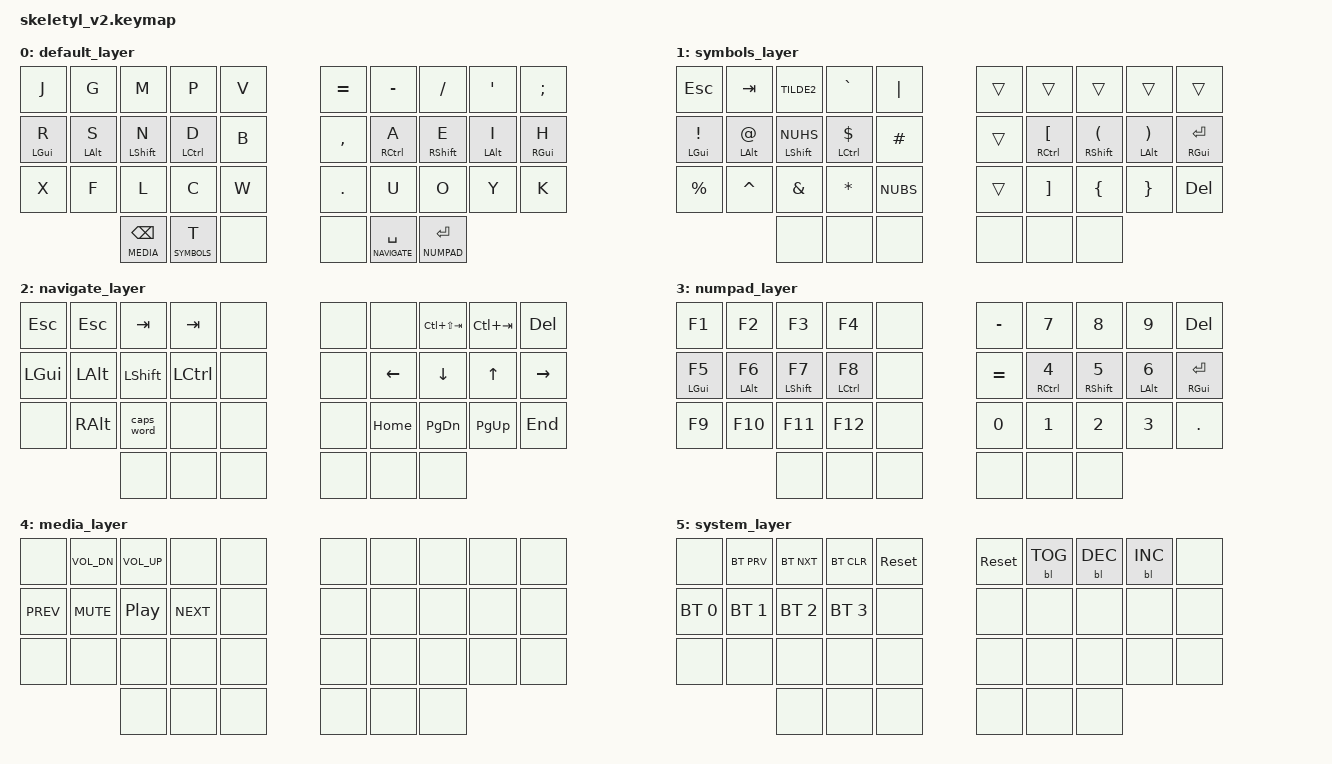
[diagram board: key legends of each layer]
/*
 * Copyright (c) 2020 The ZMK Contributors
 *
 * SPDX-License-Identifier: MIT
 */

#include <behaviors.dtsi>
#include <dt-bindings/zmk/backlight.h>
#include <dt-bindings/zmk/bt.h>
#include <dt-bindings/zmk/keys.h>

#define DEFAULT 0
#define SYMBOLS 1
#define NAVIGATE 2
#define NUMPAD 3
#define MEDIA 4
#define SYSTEM 5

/ {
    behaviors {
        bhm: balanced_homerow_mods {
            compatible = "zmk,behavior-hold-tap";
            label = "HOMEROW_MODS";
            #binding-cells = <2>;
            tapping-term-ms = <200>;// <---[[regular duration]]
            quick-tap-ms = <0>;// disabled
            flavor = "balanced";
            bindings = <&kp>, <&kp>;
        };

        bspc_del: backspace_delete {
            compatible = "zmk,behavior-mod-morph";
            label = "BACKSPACE_DELETE";
            #binding-cells = <0>;
            bindings = <&kp BACKSPACE>, <&kp DELETE>;

            mods = <(MOD_LSFT|MOD_RSFT)>;
            keep-mods = <(MOD_LCTL|MOD_RCTL)>;
        };

        copy_cut: copy_cut {
            compatible = "zmk,behavior-mod-morph";
            label = "COPY_CUT";
            #binding-cells = <0>;
            bindings = <&kp LC(C)>, <&kp LC(X)>;

            mods = <(MOD_LCTL|MOD_RCTL)>;
        };

        copy_cut_paste: copy_cut_paste {
            compatible = "zmk,behavior-mod-morph";
            label = "COPY_CUT_PASTE";
            #binding-cells = <0>;
            bindings = <&kp LC(V)>, <&copy_cut>;

            mods = <(MOD_LSFT|MOD_RSFT)>;
        };

        // copy_paste: copy_paste {
        //     compatible = "zmk,behavior-mod-morph";
        //     label = "COPY_PASTE";
        //     #binding-cells = <0>;
        //     bindings = <&kp LC(C)>, <&kp LC(V)>;
        //     mods = <(MOD_LSFT|MOD_RSFT)>;
        // };
    };

    combos {
        compatible = "zmk,combos";

        combo_z {
            timeout-ms = <100>;
            key-positions = <20 21>;
            layers = <0>;
            bindings = <&kp Z>;
        };

        combo_q {
            timeout-ms = <100>;
            key-positions = <28 29>;
            layers = <0>;
            bindings = <&kp Q>;
        };

        combo_esc {
            timeout-ms = <50>;
            key-positions = <1 2>;
            layers = <DEFAULT>;
            bindings = <&kp ESC>;
        };

        combo_tab {
            timeout-ms = <50>;
            key-positions = <2 3>;
            layers = <DEFAULT>;
            bindings = <&kp TAB>;
        };

        combo_system_layer_left {
            timeout-ms = <50>;
            key-positions = <30 31>;
            bindings = <&mo SYSTEM>;
        };

        combo_system_layer_right {
            timeout-ms = <50>;
            key-positions = <34 35>;
            bindings = <&mo SYSTEM>;
        };

        combo_caps_word {
            bindings = <&caps_word>;
            key-positions = <7 8>;
            timeout-ms = <100>;
            layers = <0>;
        };

        combo_lgui {
            bindings = <&kp LEFT_GUI>;
            key-positions = <10 19>;
        };
    };

    keymap {
        compatible = "zmk,keymap";

        default_layer {
            bindings = <
&kp J        &kp G        &kp M                &kp P          &kp V    &kp EQUAL  &kp MINUS           &kp SLASH          &kp SQT      &kp SEMI
&bhm LGUI R  &bhm LALT S  &bhm LSHFT N         &bhm LCTRL D   &kp B    &kp COMMA  &bhm RCTRL A        &bhm RSHFT E       &bhm LALT I  &bhm RGUI H
&kp X        &kp F        &kp L                &kp C          &kp W    &kp DOT    &kp U               &kp O              &kp Y        &kp K
                          &lt MEDIA BACKSPACE  &lt SYMBOLS T  &none    &none      &lt NAVIGATE SPACE  &lt NUMPAD RETURN
            >;
        };

        symbols_layer {
            bindings = <
&kp ESC         &kp TAB       &kp TILDE2       &kp GRAVE        &kp PIPE     &trans  &trans           &trans           &trans          &trans
&bhm LGUI EXCL  &bhm LALT AT  &bhm LSHFT NUHS  &bhm LCTRL DLLR  &kp POUND    &trans  &bhm RCTRL LBKT  &bhm RSHFT LPAR  &bhm LALT RPAR  &bhm RGUI RETURN
&kp PRCNT       &kp CARET     &kp AMPS         &kp ASTRK        &kp NUBS     &trans  &kp RBKT         &kp LBRC         &kp RBRC        &kp DEL
                              &none            &none            &none        &none   &none            &none
            >;
        };

        navigate_layer {
            bindings = <
&kp ESC   &kp ESCAPE     &kp TAB     &kp TAB    &none    &none  &none     &kp LC(LS(TAB))  &kp LC(TAB)  &kp DELETE
&kp LGUI  &kp LALT       &kp LSHFT   &kp LCTRL  &none    &none  &kp LEFT  &kp DOWN         &kp UP       &kp RIGHT
&none     &kp RIGHT_ALT  &caps_word  &none      &none    &none  &kp HOME  &kp PAGE_DOWN    &kp PAGE_UP  &kp END
                         &none       &none      &none    &none  &none     &none
            >;
        };

        numpad_layer {
            bindings = <
&kp F1        &kp F2        &kp F3         &kp F4         &none    &kp MINUS  &kp N7         &kp N8         &kp N9        &kp DELETE
&bhm LGUI F5  &bhm LALT F6  &bhm LSHFT F7  &bhm LCTRL F8  &none    &kp EQUAL  &bhm RCTRL N4  &bhm RSHFT N5  &bhm LALT N6  &bhm RGUI RETURN
&kp F9        &kp F10       &kp F11        &kp F12        &none    &kp N0     &kp N1         &kp N2         &kp N3        &kp DOT
                            &none          &none          &none    &none      &none          &none
            >;
        };

        media_layer {
            bindings = <
&none       &kp C_VOL_DN  &kp C_VOL_UP      &none       &none    &none  &none  &none  &none  &none
&kp C_PREV  &kp C_MUTE    &kp C_PLAY_PAUSE  &kp C_NEXT  &none    &none  &none  &none  &none  &none
&none       &none         &none             &none       &none    &none  &none  &none  &none  &none
                          &none             &none       &none    &none  &none  &none
            >;
        };

        system_layer {
            bindings = <
&none         &bt BT_PRV    &bt BT_NXT    &bt BT_CLR    &sys_reset    &sys_reset  &bl BL_TOG  &bl BL_DEC  &bl BL_INC  &none
&bt BT_SEL 0  &bt BT_SEL 1  &bt BT_SEL 2  &bt BT_SEL 3  &none         &none       &none       &none       &none       &none
&none         &none         &none         &none         &none         &none       &none       &none       &none       &none
                            &none         &none         &none         &none       &none       &none
            >;
        };
    };
};
